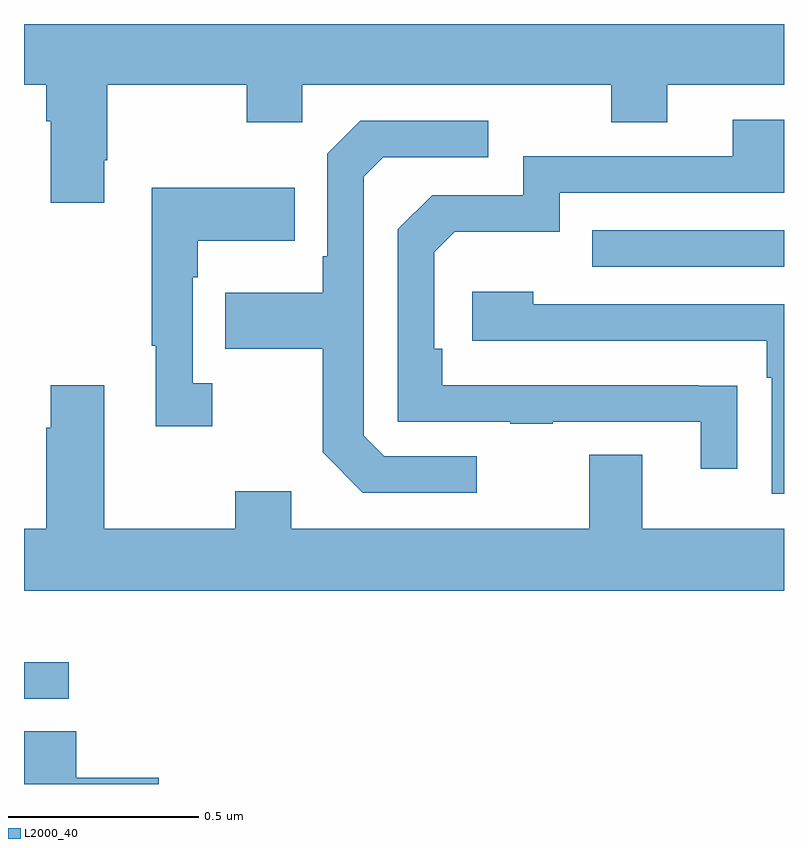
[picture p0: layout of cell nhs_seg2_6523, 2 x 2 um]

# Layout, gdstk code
import gdstk
lib = gdstk.Library(unit=1e-6, precision=1e-09)
def R(c, l, rs):  # rectangles x0, y0, x1, y1
    for r in rs: c.add(gdstk.rectangle(r[:2], r[2:], *l))
def P(c, l, *ps):  # polygons
    for p in ps: c.add(gdstk.Polygon(p, *l))
L2000_40 = (2000, 40)

nhs_seg2_6523 = lib.new_cell('nhs_seg2_6523')
R(nhs_seg2_6523, L2000_40, [(192,642.024,192.118,642.12), (193.495,643.161,194,643.257)])
P(nhs_seg2_6523, L2000_40, [(192.211,643.441),(192.219,643.441),(192.219,643.64),(192.586,643.64),(192.586,643.541),(192.732,643.541),(192.732,643.64),(193.546,643.64),(193.546,643.541),(193.693,643.541),(193.693,643.64),(194,643.64),(194,643.8),(192,643.8),(192,643.64),(192.059,643.64),(192.059,643.544),(192.071,643.544),(192.071,643.329),(192.211,643.329)],
  [(193.877,642.848),(193.775,642.848),(193.775,642.849),(193.1,642.849),(193.1,642.946),(193.08,642.946),(193.08,643.2),(193.133,643.253),(193.41,643.253),(193.41,643.356),(194,643.356),(194,643.548),(193.865,643.548),(193.865,643.452),(193.314,643.452),(193.314,643.35),(193.074,643.35),(192.984,643.26),(192.984,642.753),(193.279,642.753),(193.279,642.748),(193.391,642.748),(193.391,642.753),(193.781,642.753),(193.781,642.63),(193.877,642.63)],
  [(193.192,642.663),(192.948,642.663),(192.894,642.717),(192.894,643.398),(192.945,643.449),(193.222,643.449),(193.222,643.545),(192.885,643.545),(192.798,643.458),(192.798,643.189),(192.786,643.189),(192.786,643.093),(192.529,643.093),(192.529,642.946),(192.786,642.946),(192.786,642.673),(192.891,642.567),(193.192,642.567)],
  [(192.496,642.854),(192.444,642.854),(192.444,643.133),(192.457,643.133),(192.457,643.229),(192.713,643.229),(192.713,643.369),(192.336,643.369),(192.336,642.953),(192.347,642.953),(192.347,642.741),(192.496,642.741)],
  [(194,643.062),(193.34,643.062),(193.34,643.096),(193.179,643.096),(193.179,642.966),(193.955,642.966),(193.955,642.869),(193.968,642.869),(193.968,642.564),(194,642.564)],
  [(194,642.472),(193.627,642.472),(193.627,642.667),(193.487,642.667),(193.487,642.472),(192.703,642.472),(192.703,642.571),(192.556,642.571),(192.556,642.472),(192.211,642.472),(192.211,642.85),(192.071,642.85),(192.071,642.737),(192.059,642.737),(192.059,642.472),(192,642.472),(192,642.308),(194,642.308)],
  [(192.355,641.816),(192.137,641.816),(192.137,641.939),(192,641.939),(192,641.8),(192.355,641.8)])

lib.write_gds('nhs_seg2_6523.gds')
